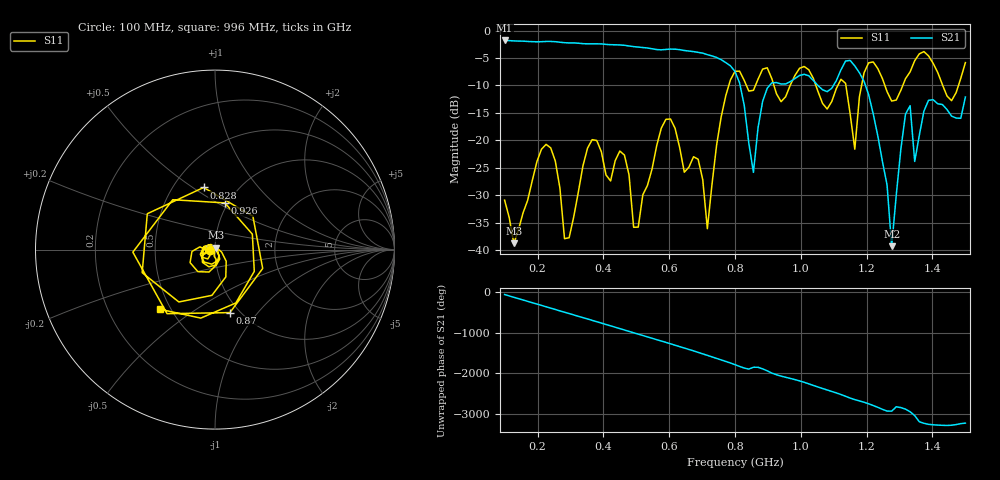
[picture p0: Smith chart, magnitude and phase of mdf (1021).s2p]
! NanoVNA-App
! Date: 2025-09-25 15:46:22
! Start: 100MHz Stop: 1,5GHz Points: 101
! S-Parameter data: F S11 S21 S12 S22
# Hz S RI R 50
!  Frequency  S11_Real  S11_Imag  S21_Real  S21_Imag  S12_Real  S12_Imag  S22_Real  S22_Imag
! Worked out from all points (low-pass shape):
!   101 points, 100 MHz to 1.5 GHz, reference 50 ohm
!   highest |S21| = -1.81 dB at 100 MHz (marker M1); lowest = -39.2 dB at 1.276 GHz (marker M2)
!   |S21| within 3 dB of the highest: start of sweep to 739.3 MHz
!   lowest |S11| = -38.8 dB at 128 MHz (marker M3), VSWR 1.02, Z = 50.4 + j1.1 ohm
!   |S11| at or under -10 dB: start of sweep to 781.1 MHz; 1.046 GHz to 1.113 GHz (66.82 MHz wide, 6.19 % of centre); 1.255 GHz to 1.31 GHz (54.38 MHz wide, 4.24 % of centre) (the widest 3 of 7)
!   S12 and S22 are empty: the file has one direction only
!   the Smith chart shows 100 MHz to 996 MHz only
!   S11 on the Smith chart (normalised r, x): 100 MHz: 0.94, -0.01; 828 MHz: 0.70, +0.55; 870 MHz: 0.90, -0.73; 926 MHz: 0.97, +0.54; 996 MHz: 0.44, -0.36
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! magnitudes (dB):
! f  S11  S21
! 100 MHz  -30.9  -1.8
! 128 MHz  -38.8  -1.9
! 212 MHz  -21.6  -2.0
! 282 MHz  -37.9  -2.2
! 338 MHz  -24.6  -2.4
! 464 MHz  -22.7  -2.7
! 506 MHz  -35.8  -3.0
! 576 MHz  -17.8  -3.5
! 716 MHz  -36.1  -4.4
! 800 MHz  -7.4  -7.4
! 828 MHz  -9.1  -13.6
! 856 MHz  -10.9  -25.8
! 870 MHz  -8.9  -17.7
! 926 MHz  -11.5  -9.5
! 996 MHz  -6.9  -8.2
! 1.038 GHz  -8.7  -9.1
! 1.136 GHz  -9.6  -5.5
! 1.164 GHz  -21.6  -6.4
! 1.192 GHz  -7.7  -9.2
! 1.276 GHz  -12.8  -39.2
! 1.318 GHz  -8.8  -15.2
! 1.5 GHz  -5.8  -12.1
